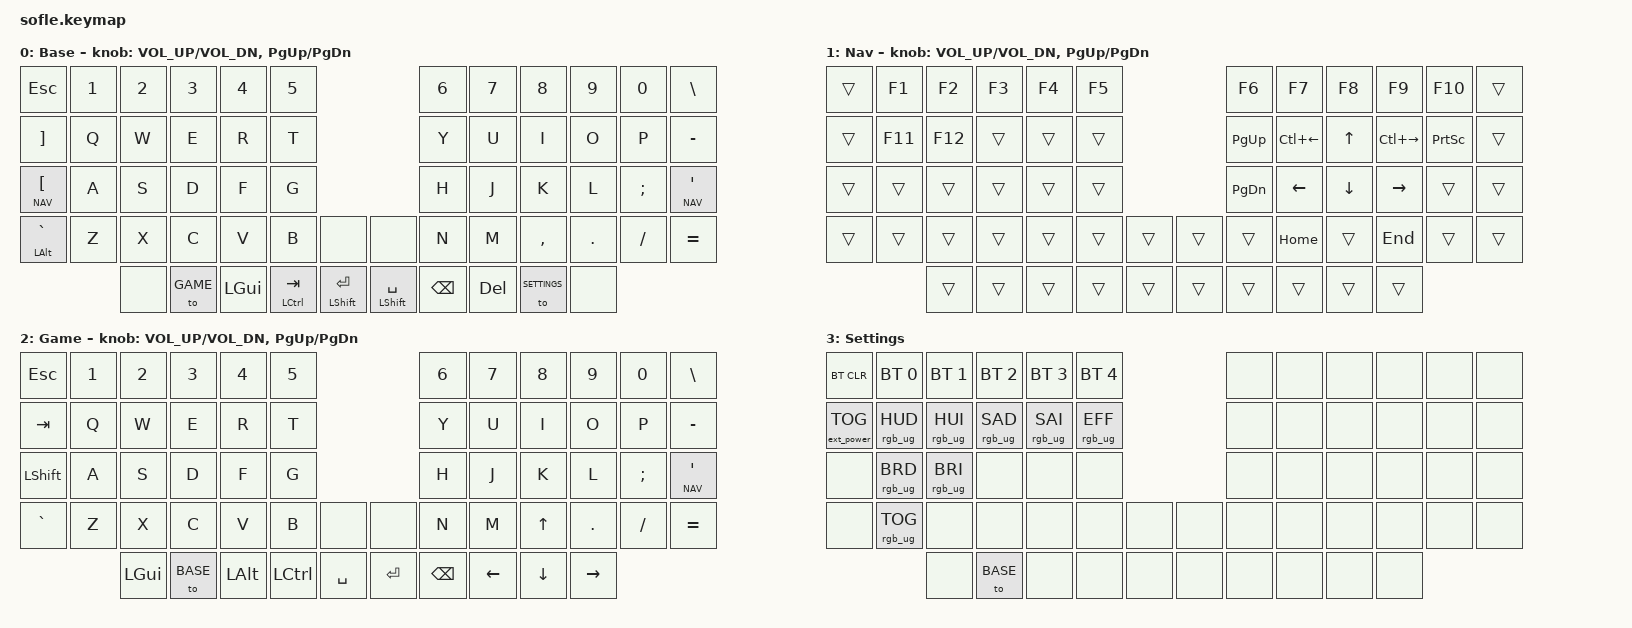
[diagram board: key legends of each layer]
/*
 * Copyright (c) 2020 The ZMK Contributors
 *
 * SPDX-License-Identifier: MIT
 *
 * cd Projects/zmk
 * source .zmk_venv/bin/activate
 * cd zmk/app/
 * west build -p -d build/left -b nice_nano_v2 -- -DSHIELD="sofle_left nice_view_adapter nice_view"
 * west build -p -d build/right -b nice_nano_v2 -- -DSHIELD="sofle_right nice_view_adapter nice_view"

 * built files in zmk/app/build/{side}/zephyr/zmk.uf2
 */

#include <behaviors.dtsi>
#include <dt-bindings/zmk/keys.h>
#include <dt-bindings/zmk/bt.h>
#include <dt-bindings/zmk/rgb.h>
#include <dt-bindings/zmk/ext_power.h>

#define BASE 0
#define NAV 1
#define GAME 2
#define SETTINGS 3

/ {

	// Activate ADJUST layer by pressing raise and lower
	// conditional_layers {
	// 	compatible = "zmk,conditional-layers";
	// 	adjust_layer {
	// 		if-layers = <NAV GAME>;
	// 		then-layer = <SETTINGS>;
	// 	};
	// };

	// ¯\_(ツ)_/¯
	// macros {
	// 	shrug: shrug {
	// 		compatible = "zmk,behavior-macro";
	// 		#binding-cells = <0>;
	// 		bindings = <&macro_tap &kp Z &kp M &kp K>;
	// 	};
	// };

	keymap {
		compatible = "zmk,keymap";

		default_layer {
			display-name = "Base";
			bindings = <
				&kp ESC			&kp N1	&kp N2		&kp N3		&kp N4		&kp N5											&kp N6		&kp N7		&kp N8			&kp N9		&kp N0		&kp BSLH
				&kp RBKT		&kp Q	&kp W		&kp E		&kp R		&kp T											&kp Y		&kp U		&kp I			&kp O		&kp P		&kp MINUS
				&lt NAV LBKT	&kp A	&kp S		&kp D		&kp F		&kp G											&kp H		&kp J		&kp K			&kp L		&kp SEMI	&lt NAV SQT
				&mt LALT GRAVE	&kp Z	&kp X		&kp C		&kp V		&kp B			&none			&none			&kp N		&kp M		&kp COMMA		&kp DOT		&kp FSLH	&kp EQUAL
										&none		&to GAME	&kp LGUI	&mt LCTRL TAB	&mt LSHFT RET	&mt LSHFT SPACE	&kp BSPC	&kp DEL		&to SETTINGS	&none
			>;

			sensor-bindings = <&inc_dec_kp C_VOL_UP C_VOL_DN &inc_dec_kp PG_UP PG_DN>;
		};

		nav_layer {
			display-name = "Nav";
			bindings = <
				&trans	&kp F1	&kp F2	&kp F3	&kp F4	&kp F5					&kp F6		&kp F7			&kp F8		&kp F9			&kp F10		&trans
				&trans	&kp F11	&kp F12	&trans	&trans	&trans					&kp PG_UP	&kp	LC(LEFT)	&kp UP		&kp LC(RIGHT)	&kp PSCRN	&trans
				&trans	&trans	&trans	&trans	&trans	&trans					&kp PG_DN	&kp LEFT		&kp DOWN	&kp RIGHT		&trans		&trans
				&trans	&trans	&trans	&trans	&trans	&trans	&trans	&trans	&trans		&kp HOME		&trans		&kp END			&trans		&trans
								&trans	&trans	&trans	&trans	&trans	&trans	&trans		&trans			&trans		&trans
			>;

			sensor-bindings = <&inc_dec_kp C_VOL_UP C_VOL_DN &inc_dec_kp PG_UP PG_DN>;
		};

		game_layer {
			display-name = "Game";
			bindings = <
				&kp ESC		&kp N1	&kp N2		&kp N3		&kp N4		&kp N5							&kp N6		&kp N7		&kp N8		&kp N9		&kp N0		&kp BSLH
				&kp TAB		&kp Q	&kp W		&kp E		&kp R		&kp T							&kp Y		&kp U		&kp I		&kp O		&kp P		&kp MINUS
				&kp LSHFT	&kp A	&kp S		&kp D		&kp F		&kp G							&kp H		&kp J		&kp K		&kp L		&kp SEMI	&lt NAV SQT
				&kp GRAVE	&kp Z	&kp X		&kp C		&kp V		&kp B		&none		&none	&kp N		&kp M		&kp UP		&kp DOT		&kp FSLH	&kp EQUAL
									&kp LGUI	&to BASE	&kp LALT	&kp LCTRL	&kp SPACE	&kp RET	&kp BSPC	&kp LEFT	&kp DOWN	&kp RIGHT
			>;

			sensor-bindings = <&inc_dec_kp C_VOL_UP C_VOL_DN &inc_dec_kp PG_UP PG_DN>;
		};

		settings_layer {
			display-name = "Settings";
			bindings = <
				&bt BT_CLR			&bt BT_SEL 0	&bt BT_SEL 1	&bt BT_SEL 2	&bt BT_SEL 3	&bt BT_SEL 4					&none	&none	&none	&none	&none	&none
				&ext_power EP_TOG	&rgb_ug RGB_HUD	&rgb_ug RGB_HUI	&rgb_ug RGB_SAD	&rgb_ug RGB_SAI	&rgb_ug RGB_EFF					&none	&none	&none	&none	&none	&none
				&none				&rgb_ug RGB_BRD	&rgb_ug RGB_BRI	&none			&none			&none							&none	&none	&none	&none	&none	&none
				&none				&rgb_ug RGB_TOG	&none			&none			&none			&none			&none	&none	&none	&none	&none	&none	&none	&none
													&none			&to BASE		&none			&none			&none	&none	&none	&none	&none	&none
			>;
		};

	};
};
